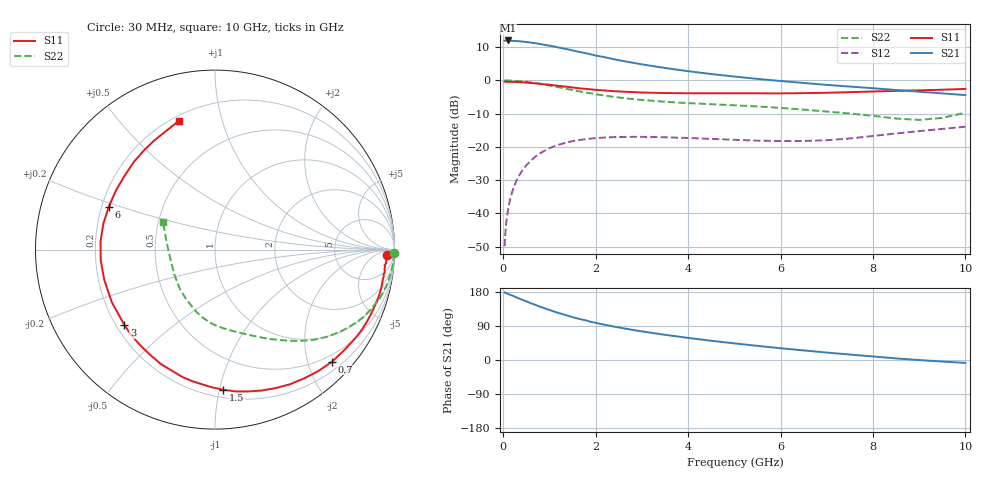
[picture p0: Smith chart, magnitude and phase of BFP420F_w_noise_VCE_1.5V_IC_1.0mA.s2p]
! Infineon Technologies  Discrete & RF Semiconductors
! BFP420F
! VCE =  1.5 V,  IC =  1.0 mA
! Common Emitter S-Parameters:  Sep 2011
# GHz  S  MA  R  50
!  f  S11  S21  S12  S22
! GHz  MAG  ANG  MAG  ANG  MAG  ANG  MAG  ANG
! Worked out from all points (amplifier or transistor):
!   54 points, 30 MHz to 10 GHz, reference 50 ohm
!   highest |S21| = 12.0 dB at 100 MHz (marker M1)
!   |S21| within 3 dB of that: start of sweep to 1.502 GHz
!   unconditionally stable (mu >= 1): 3.576 GHz to end of sweep
!   at 120 MHz: K = 0.00, MSG = 24.9 dB, |S12| = -37.7 dB
!   at 1.3 GHz: K = 0.23, MSG = 14.3 dB, |S12| = -19.0 dB
!   at 10 GHz: K = 1.82, MAG = -0.5 dB, |S12| = -14.0 dB
!   lowest NFmin = 0.80 dB at 450 MHz
!   S11 on the Smith chart (normalised r, x): 30 MHz: 30, -22; 700 MHz: 0.36, -2.45; 1.5 GHz: 0.26, -1.03; 3 GHz: 0.23, -0.34; 6 GHz: 0.23, +0.18; 10 GHz: 0.23, +0.73
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0.03  0.9574 -1.8  3.963 178.2  0.0032 87.4  0.9974 -1.2
0.06  0.9557 -4.3  3.963 176.8  0.0066 88.1  0.9974 -2.2
0.1  0.9502 -6.5  3.989 174.6  0.0107 86.5  0.9953 -3.7
0.2  0.951 -12.8  3.935 169.8  0.0216 83.2  0.9894 -7.3
0.3  0.9438 -19.2  3.914 164.5  0.0324 79.3  0.9798 -11.0
0.45  0.9327 -28.4  3.817 157.1  0.0478 73.9  0.9584 -16.1
0.7  0.9032 -43.7  3.623 145.2  0.0716 65.0  0.9091 -24.3
0.9  0.8727 -55.3  3.426 136.2  0.0878 58.1  0.8613 -30.1
1.1  0.8424 -66.4  3.237 127.9  0.1018 51.7  0.8115 -35.6
1.5  0.782 -86.6  2.826 113.0  0.1217 40.8  0.7171 -44.9
1.7  0.7537 -95.6  2.634 107.0  0.1282 36.2  0.6737 -49.0
2  0.72 -108.2  2.362 98.0  0.1351 30.1  0.6195 -54.4
2.4  0.687 -122.4  2.078 88.0  0.1401 23.5  0.5642 -60.9
3  0.6568 -140.3  1.743 75.5  0.1413 16.5  0.5073 -69.0
3.5  0.6451 -153.1  1.537 66.5  0.1393 12.7  0.4767 -74.8
4.5  0.6394 -174.9  1.247 50.8  0.1319 8.6  0.4376 -84.9
5.5  0.6386 166.9  1.054 37.3  0.1241 9.6  0.4053 -94.6
6  0.6378 158.2  0.979 31.1  0.1223 11.9  0.3853 -100.0
7  0.6505 140.6  0.856 19.6  0.1257 18.5  0.3398 -112.8
8.5  0.6951 119.4  0.717 4.2  0.1587 24.6  0.2668 -147.6
9  0.7084 114.3  0.675 -0.1  0.1724 24.2  0.2539 -167.2
10  0.7443 105.8  0.601 -7.6  0.2006 21.5  0.3258 152.3
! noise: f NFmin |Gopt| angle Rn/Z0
0.45  0.8  0.67  17  0.46
0.9  0.92  0.64  37  0.43
1.9  1.38  0.51  82  0.32
2.4  1.57  0.51  97  0.3
3.5  2.11  0.52  131  0.19
